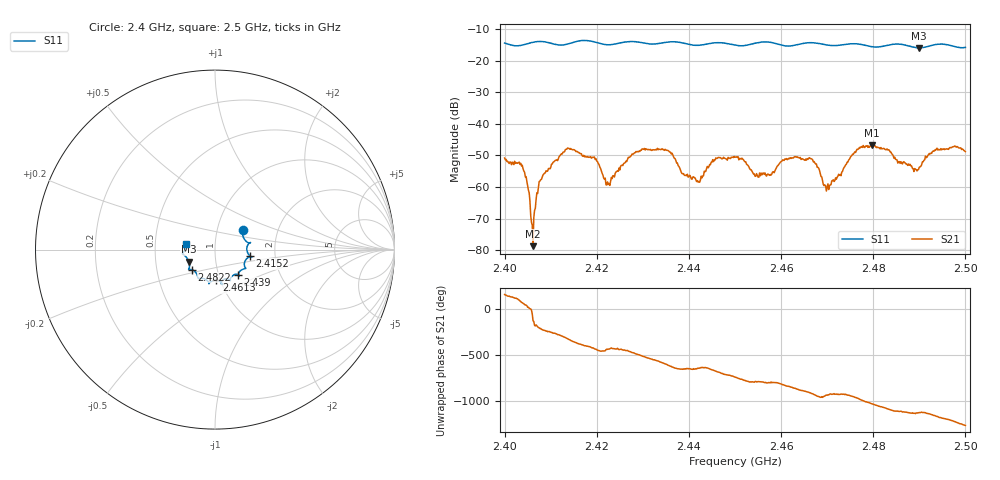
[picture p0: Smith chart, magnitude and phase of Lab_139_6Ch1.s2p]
# Hz S RI R
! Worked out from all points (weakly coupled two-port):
!   601 points, 2.4 GHz to 2.5 GHz, reference 50 ohm
!   highest |S21| = -46.74 dB at 2.4797 GHz (marker M1); lowest = -78.7 dB at 2.4062 GHz (marker M2)
!   lowest |S11| = -15.9 dB at 2.4898 GHz (marker M3), VSWR 1.38, Z = 37 - j5.04 ohm
!   |S11| at or under -10 dB: start of sweep to end of sweep
!   S12 and S22 are empty: the file has one direction only
!   S11 on the Smith chart (normalised r, x): 2.4 GHz: 1.33, +0.31; 2.4152 GHz: 1.48, -0.11; 2.439 GHz: 1.24, -0.36; 2.4613 GHz: 0.96, -0.34; 2.4822 GHz: 0.76, -0.17; 2.5 GHz: 0.72, +0.05
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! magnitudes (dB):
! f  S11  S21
! 2.4 GHz  -14.4  -50.8
! 2.4038 GHz  -15.0  -53.1
! 2.4062 GHz  -14.1  -78.7
! 2.408 GHz  -13.9  -57.6
! 2.4152 GHz  -14.1  -48.3
! 2.4167 GHz  -13.6  -49.5
! 2.4225 GHz  -14.9  -59.2
! 2.4282 GHz  -13.9  -49.2
! 2.4333 GHz  -14.6  -48.2
! 2.439 GHz  -14.5  -56.2
! 2.442 GHz  -15.1  -58.4
! 2.45 GHz  -15.0  -50.5
! 2.4547 GHz  -14.4  -55.7
! 2.4613 GHz  -15.3  -51.3
! 2.4667 GHz  -14.3  -51.1
! 2.4702 GHz  -15.0  -59.0
! 2.4797 GHz  -15.5  -46.7
! 2.4822 GHz  -15.4  -47.8
! 2.4833 GHz  -15.0  -48.2
! 2.4898 GHz  -15.9  -54.4
! 2.4933 GHz  -14.9  -48.3
! 2.5 GHz  -15.8  -48.8
